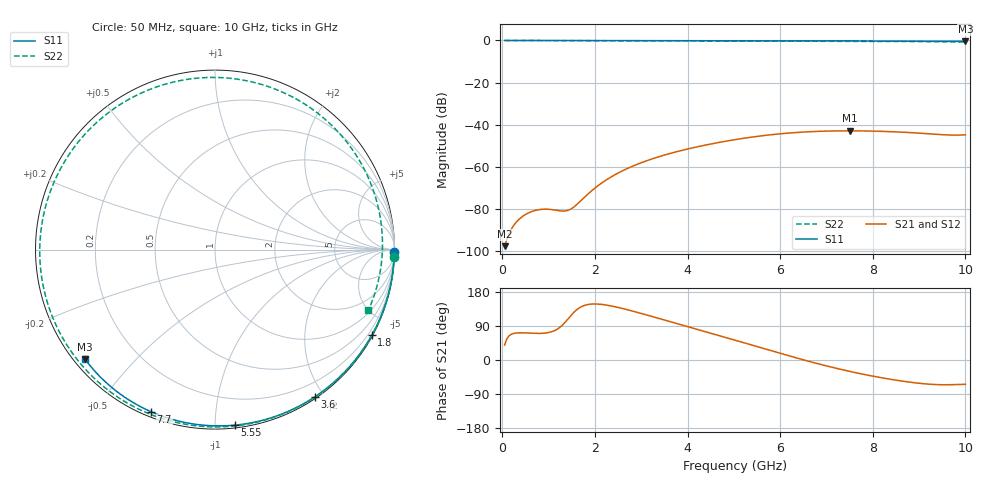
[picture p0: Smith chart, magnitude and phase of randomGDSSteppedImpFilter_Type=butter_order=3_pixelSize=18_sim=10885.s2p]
! freq	dB(S11)	phase(S11)	dB(S12)	phase(S12)
!  dB(S21)	phase(S21)	dB(S22)	phase(S22)
!S-par simulation data
#  GHz  S  DB  R 50
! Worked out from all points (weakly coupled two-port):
!   200 points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, 50 MHz to 10 GHz, reference 50 ohm
!   highest |S21| = -42.85 dB at 7.5 GHz (marker M1); lowest = -97.5 dB at 50 MHz (marker M2)
!   lowest |S11| = -0.5 dB at 10 GHz (marker M3), VSWR 36.85, Z = 1.54 - j18.2 ohm
!   |S11| at or under -10 dB: nowhere
!   |S22| runs from -0.7 to 0.0 dB; largest |S21 - S12| = 0
!   S11 on the Smith chart (normalised r, x): 50 MHz: open; 1.8 GHz: 0.03, -3.91; 3.6 GHz: 0.02, -1.88; 5.55 GHz: 0.02, -1.12; 7.7 GHz: 0.02, -0.68; 10 GHz: 0.03, -0.36
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0.05  -0.01 -0.8  -97.54 39.4  -97.54 39.4  -0.00 -2.3
0.7  -0.01 -11.3  -80.67 70.3  -80.67 70.3  -0.04 -32.9
1.1  -0.02 -17.6  -80.29 76.1  -80.29 76.1  -0.06 -51.1
1.45  -0.03 -23.2  -80.29 112.9  -80.29 112.9  -0.08 -66.4
1.75  -0.04 -27.9  -74.86 143.0  -74.86 143.0  -0.09 -79.0
1.8  -0.04 -28.7  -73.83 145.0  -73.83 145.0  -0.10 -81.0
2.15  -0.04 -34.1  -67.54 146.6  -67.54 146.6  -0.11 -95.0
2.5  -0.05 -39.5  -62.88 138.7  -62.88 138.7  -0.12 -108.4
3.4  -0.07 -53.0  -55.01 109.1  -55.01 109.1  -0.15 -140.6
3.6  -0.08 -56.0  -53.73 102.1  -53.73 102.1  -0.16 -147.3
4.3  -0.09 -66.1  -50.00 77.8  -50.00 77.8  -0.19 -170.5
5.05  -0.12 -76.7  -46.94 51.4  -46.94 51.4  -0.23 165.1
5.55  -0.14 -83.5  -45.36 33.7  -45.36 33.7  -0.26 148.6
6.15  -0.16 -91.6  -43.97 12.5  -43.97 12.5  -0.29 128.3
6.7  -0.19 -98.8  -43.21 -6.1  -43.21 -6.1  -0.33 109.0
7.5  -0.24 -109.0  -42.85 -30.0  -42.85 -30.0  -0.38 79.5
7.7  -0.26 -111.5  -42.88 -35.3  -42.88 -35.3  -0.40 71.8
8.35  -0.31 -119.6  -43.21 -50.3  -43.21 -50.3  -0.45 46.2
8.8  -0.35 -125.2  -43.67 -58.5  -43.67 -58.5  -0.50 28.1
9.2  -0.38 -130.1  -44.24 -63.7  -44.24 -63.7  -0.55 11.7
9.6  -0.43 -135.0  -44.79 -65.3  -44.79 -65.3  -0.63 -4.9
10  -0.47 -140.0  -44.77 -64.2  -44.77 -64.2  -0.73 -21.6
